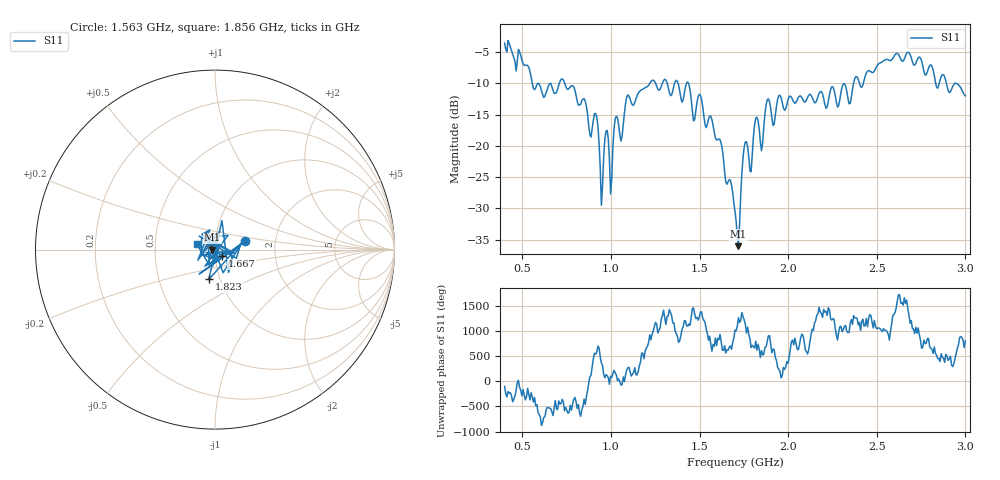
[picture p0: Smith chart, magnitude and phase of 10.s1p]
!Created with skrf (http://scikit-rf.org).
# Hz S RI R 50.0
!freq ReS11 ImS11
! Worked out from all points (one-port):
!   401 points, 400 MHz to 3 GHz, reference 50 ohm
!   lowest |S11| = -36.0 dB at 1.72 GHz (marker M1), VSWR 1.03, Z = 48.5 - j0.0921 ohm
!   |S11| at or under -10 dB: 589.8 MHz to 708.8 MHz (119 MHz wide, 18.3 % of centre); 738.9 MHz to 1.219 GHz (480.1 MHz wide, 49 % of centre); 1.437 GHz to 2.369 GHz (931.9 MHz wide, 49 % of centre) (the widest 3 of 11)
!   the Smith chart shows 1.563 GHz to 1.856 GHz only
!   S11 on the Smith chart (normalised r, x): 1.563 GHz: 1.39, +0.13; 1.667 GHz: 1.08, -0.08; 1.823 GHz: 0.89, -0.30; 1.856 GHz: 0.81, +0.05
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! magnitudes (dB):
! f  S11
! 400 MHz  -3.6
! 621 MHz  -12.3
! 725 MHz  -9.3
! 848.5 MHz  -12.4
! 881 MHz  -18.2
! 913.5 MHz  -14.8
! 946 MHz  -29.5
! 972 MHz  -17.7
! 998 MHz  -27.7
! 1.03 GHz  -15.3
! 1.05 GHz  -18.2
! 1.095 GHz  -11.9
! 1.375 GHz  -9.7
! 1.563 GHz  -15.3
! 1.667 GHz  -25.4
! 1.7 GHz  -30.5
! 1.72 GHz  -36.0
! 1.752 GHz  -20.2
! 1.791 GHz  -24.2
! 1.823 GHz  -15.4
! 1.856 GHz  -19.5
! 1.882 GHz  -12.6
! 1.915 GHz  -16.7
! 2.025 GHz  -12.6
! 2.35 GHz  -13.2
! 2.382 GHz  -8.9
! 2.675 GHz  -5.0
! 3 GHz  -12.0
